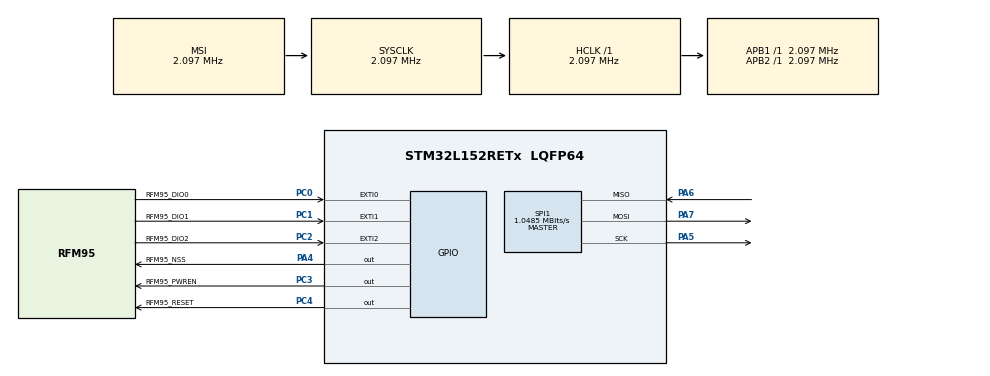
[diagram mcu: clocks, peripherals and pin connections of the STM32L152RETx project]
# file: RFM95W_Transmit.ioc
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Mcu.Family=STM32L1
Mcu.Name=STM32L152RETx
Mcu.Package=LQFP64
NVIC.PriorityGroup=NVIC_PRIORITYGROUP_4
PA13.Mode=Serial_Wire
PA13.Signal=SYS_JTMS-SWDIO
PA14.Mode=Serial_Wire
PA14.Signal=SYS_JTCK-SWCLK
PA4.GPIO_Label=RFM95_NSS
PA4.Signal=GPIO_Output
PA5.Mode=Full_Duplex_Master
PA5.Signal=SPI1_SCK
PA6.Mode=Full_Duplex_Master
PA6.Signal=SPI1_MISO
PA7.Mode=Full_Duplex_Master
PA7.Signal=SPI1_MOSI
PC0.GPIO_Label=RFM95_DIO0
PC0.Signal=GPXTI0
PC1.GPIO_Label=RFM95_DIO1
PC1.Signal=GPXTI1
PC2.GPIO_Label=RFM95_DIO2
PC2.Signal=GPXTI2
PC3.GPIO_Label=RFM95_PWREN
PC3.Signal=GPIO_Output
PC4.GPIO_Label=RFM95_RESET
PC4.PinState=GPIO_PIN_SET
PC4.Signal=GPIO_Output
ProjectManager.HeapSize=0x200
ProjectManager.StackSize=0x400
ProjectManager.TargetToolchain=STM32CubeIDE
RCC.AHBFreq_Value=2097000
RCC.APB1Freq_Value=2097000
RCC.APB2Freq_Value=2097000
RCC.HSE_VALUE=24000000
RCC.HSI_VALUE=16000000
RCC.LSE_VALUE=32768
RCC.MSI_VALUE=2097000
RCC.SYSCLKFreq_VALUE=2097000
RCC.VCOOutputFreq_Value=48000000
SPI1.CalculateBaudRate=1.0485 MBits/s
SPI1.Direction=SPI_DIRECTION_2LINES
SPI1.Mode=SPI_MODE_MASTER
SPI1.VirtualType=VM_MASTER
board=custom

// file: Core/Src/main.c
/* USER CODE BEGIN Header */
/**
 ******************************************************************************
 * @file           : main.c
 * @brief          : Main program body
 ******************************************************************************
 * @attention
 *
 * Copyright (c) 2023 STMicroelectronics.
 * All rights reserved.
 *
 * This software is licensed under terms that can be found in the LICENSE file
 * in the root directory of this software component.
 * If no LICENSE file comes with this software, it is provided AS-IS.
 *
 ******************************************************************************
 */
/* USER CODE END Header */
#include "main.h"

/* USER CODE BEGIN Includes */
#include "rfm95.h"
#include <string.h>
#include <stdio.h>
/* USER CODE END Includes */

SPI_HandleTypeDef hspi1;

/* USER CODE BEGIN PV */
RFM95_HandleTypeDef rfm95 = { 0 };

typedef struct
{
	uint8_t CRCSrc;
	uint8_t CRCDes;
	uint8_t levelWarning;
	uint8_t CRC8;
} LORA_RxWarning;

typedef struct
{
	uint8_t CRCSrc;
	uint8_t CRCDes;
	uint8_t levelWarning;
	uint8_t status;
	uint8_t CRC8;
} LORA_TxWarning;

LORA_TxWarning txMsg = { 0 };
LORA_RxWarning rxMsg = { 0 };

/* USER CODE END PV */

void SystemClock_Config(void);
static void MX_GPIO_Init(void);
static void MX_SPI1_Init(void);

int main(void)
{

	/* MCU Configuration--------------------------------------------------------*/

	/* Reset of all peripherals, Initializes the Flash interface and the Systick. */
	HAL_Init();

	/* Configure the system clock */
	SystemClock_Config();

	/* Initialize all configured peripherals */
	MX_GPIO_Init();
	MX_SPI1_Init();
	/* USER CODE BEGIN 2 */
	rfm95.resetPort = RFM95_RESET_GPIO_Port;
	rfm95.resetPin = RFM95_RESET_Pin;
	rfm95.nssPin = RFM95_NSS_Pin;
	rfm95.nssPort = RFM95_NSS_GPIO_Port;
	rfm95.resetPort = GPIOC;
	rfm95.resetPin = GPIO_PIN_4;
	rfm95.nssPin = GPIO_PIN_4;
	rfm95.nssPort = GPIOA;
	rfm95.hspi = &hspi1;
	RFM95_reset(&rfm95);
	RFM95_setMode(&rfm95,
			RFLR_OPMODE_LONGRANGEMODE_ON | RFLR_OPMODE_SLEEP
					| RFLR_OPMODE_FREQMODE_ACCESS_HF);
	RFM95_setFrequency(&rfm95, 923);
	RFM95_setBandwidth(&rfm95, RFLR_MODEMCONFIG1_BW_125_KHZ);
	RFM95_setSpreadingFactor(&rfm95, RFLR_MODEMCONFIG2_SF_10);
	RFM95_setLNA(&rfm95);
	RFM95_setRFPowerAmplifier(&rfm95, RFLR_PACONFIG_PASELECT_PABOOST, 20);
	RFM95_setMode(&rfm95, RFLR_OPMODE_LONGRANGEMODE_ON | RFLR_OPMODE_STANDBY);
	uint8_t rxBuffer[50] = { 0 };
	/* USER CODE END 2 */

	/* Infinite loop */
	/* USER CODE BEGIN WHILE */
	while (1)
	{
		RFM95_receiveContinuous(&rfm95, (uint8_t*) rxBuffer, sizeof(rxBuffer),
				2000);
		if (rxBuffer[0] != 0)
		{
			txMsg.CRCDes = WLV_CRC8XOR((uint8_t*) "8411111111",
					strlen("8400000000"));
			txMsg.CRCSrc = WLV_CRC8XOR((uint8_t*) "841699741004",
					strlen("841699741004"));
			txMsg.levelWarning = 1;
			txMsg.status = 1;
			txMsg.CRC8 = WLV_CRC8XOR((uint8_t*) &txMsg, sizeof(txMsg) - 1);
			HAL_Delay(1000);
			RFM95_transmit(&rfm95, (uint8_t*) &txMsg, sizeof(LORA_TxWarning),
					2000);
			memset(rxBuffer, '\0', sizeof(rxBuffer));
		}
		/* USER CODE END WHILE */

	}
}

void SystemClock_Config(void)
{
	RCC_OscInitTypeDef RCC_OscInitStruct = { 0 };
	RCC_ClkInitTypeDef RCC_ClkInitStruct = { 0 };

	/** Configure the main internal regulator output voltage
	 */
	__HAL_PWR_VOLTAGESCALING_CONFIG(PWR_REGULATOR_VOLTAGE_SCALE1);
	/** Initializes the RCC Oscillators according to the specified parameters
	 * in the RCC_OscInitTypeDef structure.
	 */
	RCC_OscInitStruct.OscillatorType = RCC_OSCILLATORTYPE_MSI;
	RCC_OscInitStruct.MSIState = RCC_MSI_ON;
	RCC_OscInitStruct.MSICalibrationValue = 0;
	RCC_OscInitStruct.MSIClockRange = RCC_MSIRANGE_5;
	RCC_OscInitStruct.PLL.PLLState = RCC_PLL_NONE;
	if (HAL_RCC_OscConfig(&RCC_OscInitStruct) != HAL_OK)
	{
		Error_Handler();
	}
	/** Initializes the CPU, AHB and APB buses clocks
	 */
	RCC_ClkInitStruct.ClockType = RCC_CLOCKTYPE_HCLK | RCC_CLOCKTYPE_SYSCLK
			| RCC_CLOCKTYPE_PCLK1 | RCC_CLOCKTYPE_PCLK2;
	RCC_ClkInitStruct.SYSCLKSource = RCC_SYSCLKSOURCE_MSI;
	RCC_ClkInitStruct.AHBCLKDivider = RCC_SYSCLK_DIV1;
	RCC_ClkInitStruct.APB1CLKDivider = RCC_HCLK_DIV1;
	RCC_ClkInitStruct.APB2CLKDivider = RCC_HCLK_DIV1;

	if (HAL_RCC_ClockConfig(&RCC_ClkInitStruct, FLASH_LATENCY_0) != HAL_OK)
	{
		Error_Handler();
	}
}

static void MX_SPI1_Init(void)
{

	/* SPI1 parameter configuration*/
	hspi1.Instance = SPI1;
	hspi1.Init.Mode = SPI_MODE_MASTER;
	hspi1.Init.Direction = SPI_DIRECTION_2LINES;
	hspi1.Init.DataSize = SPI_DATASIZE_8BIT;
	hspi1.Init.CLKPolarity = SPI_POLARITY_LOW;
	hspi1.Init.CLKPhase = SPI_PHASE_1EDGE;
	hspi1.Init.NSS = SPI_NSS_SOFT;
	hspi1.Init.BaudRatePrescaler = SPI_BAUDRATEPRESCALER_2;
	hspi1.Init.FirstBit = SPI_FIRSTBIT_MSB;
	hspi1.Init.TIMode = SPI_TIMODE_DISABLE;
	hspi1.Init.CRCCalculation = SPI_CRCCALCULATION_DISABLE;
	hspi1.Init.CRCPolynomial = 10;
	if (HAL_SPI_Init(&hspi1) != HAL_OK)
	{
		Error_Handler();
	}

}

static void MX_GPIO_Init(void)
{
	GPIO_InitTypeDef GPIO_InitStruct = { 0 };

	/* GPIO Ports Clock Enable */
	__HAL_RCC_GPIOC_CLK_ENABLE();
	__HAL_RCC_GPIOA_CLK_ENABLE();

	/*Configure GPIO pin Output Level */
	HAL_GPIO_WritePin(RFM95_PWREN_GPIO_Port, RFM95_PWREN_Pin, GPIO_PIN_RESET);

	/*Configure GPIO pin Output Level */
	HAL_GPIO_WritePin(RFM95_NSS_GPIO_Port, RFM95_NSS_Pin, GPIO_PIN_RESET);

	/*Configure GPIO pin Output Level */
	HAL_GPIO_WritePin(RFM95_RESET_GPIO_Port, RFM95_RESET_Pin, GPIO_PIN_SET);

	/*Configure GPIO pins : RFM95_DIO0_Pin RFM95_DIO1_Pin RFM95_DIO2_Pin */
	GPIO_InitStruct.Pin = RFM95_DIO0_Pin | RFM95_DIO1_Pin | RFM95_DIO2_Pin;
	GPIO_InitStruct.Mode = GPIO_MODE_IT_RISING;
	GPIO_InitStruct.Pull = GPIO_NOPULL;
	HAL_GPIO_Init(GPIOC, &GPIO_InitStruct);

	/*Configure GPIO pins : RFM95_PWREN_Pin RFM95_RESET_Pin */
	GPIO_InitStruct.Pin = RFM95_PWREN_Pin | RFM95_RESET_Pin;
	GPIO_InitStruct.Mode = GPIO_MODE_OUTPUT_PP;
	GPIO_InitStruct.Pull = GPIO_NOPULL;
	GPIO_InitStruct.Speed = GPIO_SPEED_FREQ_LOW;
	HAL_GPIO_Init(GPIOC, &GPIO_InitStruct);

	/*Configure GPIO pin : RFM95_NSS_Pin */
	GPIO_InitStruct.Pin = RFM95_NSS_Pin;
	GPIO_InitStruct.Mode = GPIO_MODE_OUTPUT_PP;
	GPIO_InitStruct.Pull = GPIO_NOPULL;
	GPIO_InitStruct.Speed = GPIO_SPEED_FREQ_LOW;
	HAL_GPIO_Init(RFM95_NSS_GPIO_Port, &GPIO_InitStruct);

}

void Error_Handler(void)
{
	__disable_irq();
	while (1)
	{
	}
}
